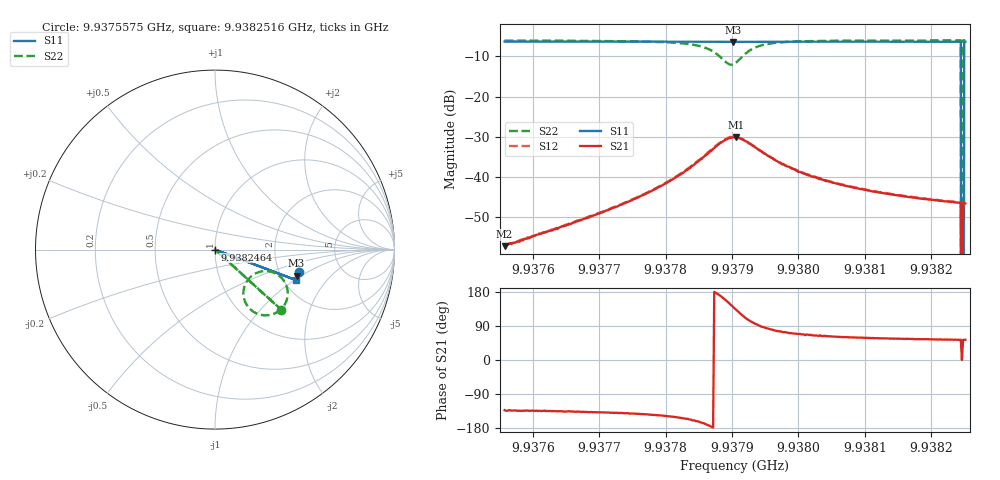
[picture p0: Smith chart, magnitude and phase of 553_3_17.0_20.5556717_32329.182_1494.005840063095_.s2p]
#  HZ  S  RI  R  50.00
! Rohde & Schwarz Vector Network Analyzer
! Rohde-Schwarz,ZNB20-2Port,1311601062101988,3.16
! Created: UTC 3/20/2024, 11:16:54 PM
! freq[Hz]  re:S11  im:S11  re:S21  im:S21  re:S12  im:S12  re:S22  im:S22
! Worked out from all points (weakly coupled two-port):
!   401 points, 9.9375575 GHz to 9.9382516 GHz, reference 50 ohm
!   highest |S21| = -30.13 dB at 9.9379063 GHz (marker M1); lowest = -57.2 dB at 9.9375575 GHz (marker M2)
!   lowest |S11| = -6.4 dB at 9.9379011 GHz (marker M3), VSWR 2.83, Z = 121 - j45.8 ohm
!   |S11| at or under -10 dB: 9.9382447 GHz to 9.9382499 GHz (5.141 kHz wide, 5.17e-05 % of centre)
!   |S22| runs from - to -6.1 dB; largest |S21 - S12| = 0.0014
!   S11 on the Smith chart (normalised r, x): 9.9375575 GHz: 2.55, -0.83; 9.9382464 GHz: 1.00, +0.00; 9.9382516 GHz: 2.31, -1.02
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9.93755747e9  0.466 -0.1253  -0.000931 -0.00103  -0.000968 -0.000999  0.366 -0.3347
9.93767374e9  0.4631 -0.1332  -0.00216 -0.00199  -0.0022 -0.00204  0.3494 -0.3464
9.93773274e9  0.4616 -0.137  -0.00346 -0.00294  -0.00353 -0.00286  0.3349 -0.3544
9.93779001e9  0.46 -0.1412  -0.00626 -0.0042  -0.00642 -0.00417  0.3084 -0.3637
9.93782472e9  0.4588 -0.1436  -0.00992 -0.00499  -0.0102 -0.00493  0.276 -0.3661
9.93786117e9  0.4567 -0.1459  -0.0185 -0.00339  -0.0191 -0.00301  0.2076 -0.3417
9.93788546e9  0.4549 -0.1465  -0.0265 0.00698  -0.027 0.00797  0.1582 -0.2479
9.93790108e9  0.4545 -0.1459  -0.0242 0.0196  -0.0239 0.0209  0.1986 -0.1519
9.93790455e9  0.4547 -0.1457  -0.0219 0.0218  -0.0217 0.0232  0.2188 -0.1369
9.93790629e9  0.4548 -0.1456  -0.0209 0.0231  -0.0204 0.0242  0.2298 -0.1309
9.93792538e9  0.456 -0.1464  -0.00675 0.0253  -0.00608 0.026  0.3418 -0.1354
9.93794447e9  0.4564 -0.148  0.000727 0.0209  0.00106 0.0207  0.3911 -0.1856
9.9379757e9  0.4562 -0.1506  0.00397 0.0138  0.00424 0.014  0.4051 -0.2436
9.93802082e9  0.4552 -0.154  0.00429 0.00922  0.00441 0.0092  0.3987 -0.2834
9.93807636e9  0.4537 -0.158  0.00384 0.0066  0.00399 0.00661  0.3888 -0.3059
9.9381371e9  0.4521 -0.162  0.00338 0.00511  0.00351 0.00513  0.3801 -0.3196
9.93824122e9  0.4491 -0.1688  0.00288 0.00385  0.00296 0.00384  0.3691 -0.3335
9.93824296e9  0.4491 -0.169  0.00289 0.00385  0.00297 0.00384  0.3689 -0.3337
9.93824469e9  0.449 -0.1689  0.00282 0.00383  0.00297 0.00383  0.3687 -0.334
9.93824643e9  0 0  0 0  0 0  0 0
9.9382499e9  0.4489 -0.1693  0.00282 0.00378  0.00295 0.00381  0.3681 -0.3345
9.93825164e9  0.4488 -0.1695  0.00281 0.00376  0.00294 0.00377  0.368 -0.3344
